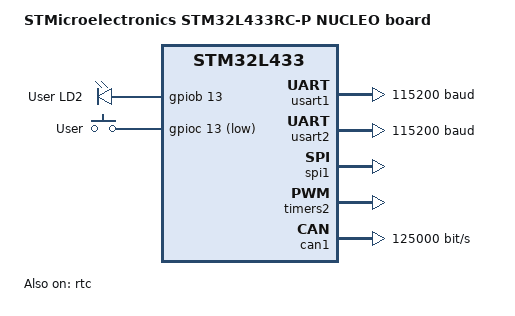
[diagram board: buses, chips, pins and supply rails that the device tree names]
/*
 * Copyright (c) 2019 IP-Logix Inc.
 *
 * SPDX-License-Identifier: Apache-2.0
 */

/dts-v1/;
#include <st/l4/stm32l433Xc.dtsi>
#include "arduino_r3_connector.dtsi"

/ {
	model = "STMicroelectronics STM32L433RC-P NUCLEO board";
	compatible = "st,stm32l433rc-nucleo-p", "st,stm32l433";

	chosen {
		zephyr,console = &usart2;
		zephyr,shell-uart = &usart2;
		zephyr,sram = &sram0;
		zephyr,flash = &flash0;
		zephyr,can-primary = &can1;
	};

	leds {
		compatible = "gpio-leds";
		green_led: led_0 {
			gpios = <&gpiob 13 GPIO_ACTIVE_HIGH>;
			label = "User LD2";
		};
	};

	gpio_keys {
		compatible = "gpio-keys";
		user_button: button {
			label = "User";
			gpios = <&gpioc 13 GPIO_ACTIVE_LOW>;
		};
	};

	aliases {
		led0 = &green_led;
		sw0  = &user_button;
	};
};

&usart1 {
	current-speed = <115200>;
};

&usart2 {
	current-speed = <115200>;
	status = "okay";
};

&spi1 {
	status = "okay";
};

&timers2 {
	status = "okay";

	pwm2: pwm {
		status = "okay";
	};
};

&can1 {
	bus-speed = <125000>;
	status = "okay";
};

&rtc {
	status = "okay";
};


&flash0 {
	/*
	 * For more information, see:
	 * http://docs.zephyrproject.org/devices/dts/flash_partitions.html
	 */
	partitions {
		compatible = "fixed-partitions";
		#address-cells = <1>;
		#size-cells = <1>;

		/*
		 * Reserve the final 4 KiB for file system partition
		 */
		storage_partition: partition@3f000
		{
			label = "storage";
			reg = <0x0003f000 0x00001000>;
		};
	};
};
